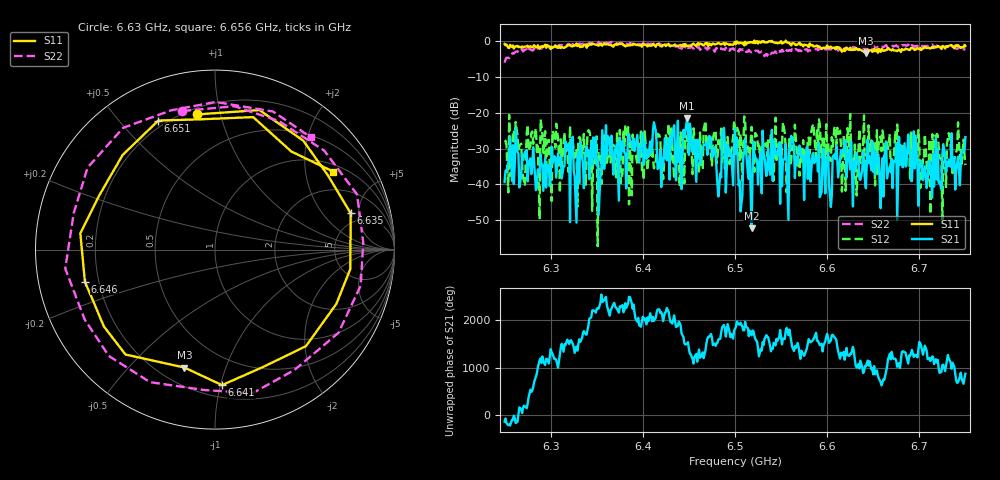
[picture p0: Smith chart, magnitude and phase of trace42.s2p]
# Hz S RI R 50
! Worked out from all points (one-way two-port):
!   401 points, 6.25 GHz to 6.75 GHz, reference 50 ohm
!   highest |S21| = -21.54 dB at 6.448 GHz (marker M1); lowest = -52.3 dB at 6.518 GHz (marker M2)
!   lowest |S11| = -3.4 dB at 6.642 GHz (marker M3), VSWR 5.23, Z = 15 - j36.5 ohm
!   |S11| at or under -10 dB: nowhere
!   |S22| runs from -5.9 to -0.1 dB; largest |S21 - S12| = 0.12
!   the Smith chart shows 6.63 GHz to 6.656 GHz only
!   S11 on the Smith chart (normalised r, x): 6.63 GHz: 0.24, +0.85; 6.635 GHz: 3.86, +4.03; 6.641 GHz: 0.29, -1.01; 6.646 GHz: 0.15, -0.12; 6.651 GHz: 0.17, +0.64; 6.656 GHz: 1.24, +2.85
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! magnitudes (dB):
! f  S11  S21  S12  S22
! 6.25 GHz  -0.7  -39.3  -27.7  -5.9
! 6.27 GHz  -1.7  -33.2  -37.9  -2.8
! 6.281 GHz  -1.5  -29.6  -28.6  -2.5
! 6.334 GHz  -1.4  -32.5  -32.1  -0.8
! 6.354 GHz  -0.7  -37.3  -32.0  -0.7
! 6.381 GHz  -1.4  -31.4  -23.4  -0.6
! 6.388 GHz  -0.9  -28.3  -43.1  -0.7
! 6.418 GHz  -1.0  -35.1  -26.3  -0.5
! 6.448 GHz  -1.3  -21.5  -27.3  -1.2
! 6.482 GHz  -0.4  -43.4  -27.6  -2.2
! 6.5 GHz  -0.1  -24.4  -24.6  -2.2
! 6.518 GHz  -0.2  -52.3  -23.9  -3.0
! 6.584 GHz  -1.0  -31.7  -23.8  -2.5
! 6.63 GHz  -2.4  -34.3  -28.9  -2.0
! 6.635 GHz  -2.1  -38.4  -24.5  -1.4
! 6.641 GHz  -2.4  -38.6  -37.9  -1.7
! 6.642 GHz  -3.4  -41.1  -32.5  -2.1
! 6.646 GHz  -2.5  -32.2  -30.7  -1.7
! 6.651 GHz  -2.1  -30.2  -28.1  -1.4
! 6.656 GHz  -2.1  -32.5  -27.3  -1.7
! 6.668 GHz  -2.3  -35.0  -25.9  -1.6
! 6.75 GHz  -1.3  -26.8  -34.6  -2.3
